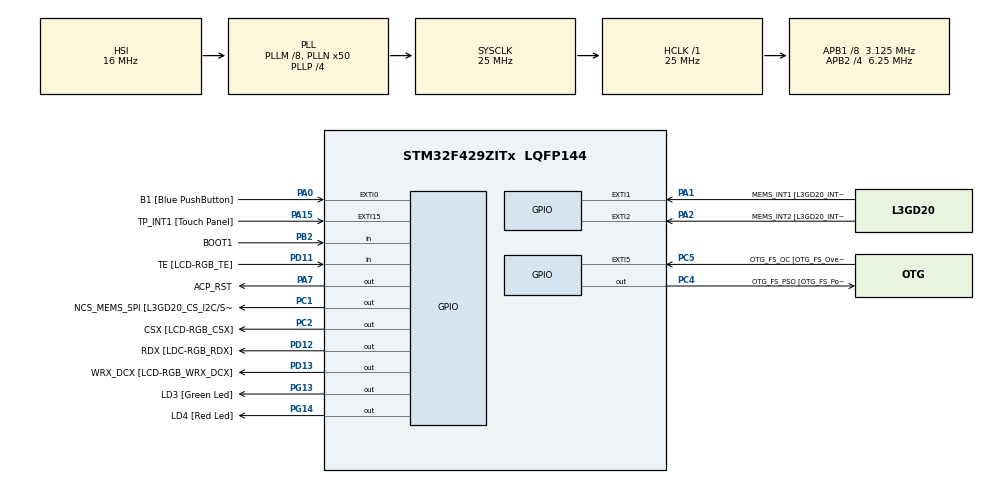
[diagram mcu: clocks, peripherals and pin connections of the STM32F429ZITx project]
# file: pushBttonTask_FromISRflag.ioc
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Mcu.Family=STM32F4
Mcu.Name=STM32F429ZITx
Mcu.Package=LQFP144
NVIC.EXTI0_IRQn=true\:6\:0\:true\:false\:true\:true\:true\:true
NVIC.PriorityGroup=NVIC_PRIORITYGROUP_4
NVIC.TIM6_DAC_IRQn=true\:15\:0\:false\:false\:true\:false\:true\:true
NVIC.TimeBase=TIM6_DAC_IRQn
NVIC.TimeBaseIP=TIM6
PA0/WKUP.GPIO_Label=B1 [Blue PushButton]
PA0/WKUP.GPIO_ModeDefaultEXTI=GPIO_MODE_IT_FALLING
PA0/WKUP.GPIO_PuPd=GPIO_NOPULL
PA0/WKUP.Signal=GPXTI0
PA1.GPIO_Label=MEMS_INT1 [L3GD20_INT1]
PA1.GPIO_ModeDefaultEXTI=GPIO_MODE_EVT_RISING
PA1.GPIO_PuPd=GPIO_NOPULL
PA1.Signal=GPXTI1
PA10.GPIO_Label=STLINK_TX [STM32F103CBT6_PA2]
PA10.Signal=USART1_RX
PA11.GPIO_Label=R4
PA11.GPIO_Mode=GPIO_MODE_AF_PP
PA11.GPIO_PuPd=GPIO_NOPULL
PA11.GPIO_Speed=GPIO_SPEED_FREQ_LOW
PA11.Signal=LTDC_R4
PA12.GPIO_Label=R5
PA12.GPIO_Mode=GPIO_MODE_AF_PP
PA12.GPIO_PuPd=GPIO_NOPULL
PA12.GPIO_Speed=GPIO_SPEED_FREQ_LOW
PA12.Signal=LTDC_R5
PA13.GPIO_Label=SWDIO
PA13.Signal=SYS_JTMS-SWDIO
PA14.GPIO_Label=SWCLK
PA14.Signal=SYS_JTCK-SWCLK
PA15.GPIO_Label=TP_INT1 [Touch Panel]
PA15.GPIO_ModeDefaultEXTI=GPIO_MODE_EVT_RISING
PA15.GPIO_PuPd=GPIO_NOPULL
PA15.Signal=GPXTI15
PA2.GPIO_Label=MEMS_INT2 [L3GD20_INT2]
PA2.GPIO_ModeDefaultEXTI=GPIO_MODE_EVT_RISING
PA2.GPIO_PuPd=GPIO_NOPULL
PA2.Signal=GPXTI2
PA3.GPIO_Label=B5
PA3.GPIO_Mode=GPIO_MODE_AF_PP
PA3.GPIO_PuPd=GPIO_NOPULL
PA3.GPIO_Speed=GPIO_SPEED_FREQ_LOW
PA3.Signal=LTDC_B5
PA4.GPIO_Label=VSYNC
PA4.GPIO_Mode=GPIO_MODE_AF_PP
PA4.GPIO_PuPd=GPIO_NOPULL
PA4.GPIO_Speed=GPIO_SPEED_FREQ_LOW
PA4.Signal=LTDC_VSYNC
PA6.GPIO_Label=G2
PA6.GPIO_Mode=GPIO_MODE_AF_PP
PA6.GPIO_PuPd=GPIO_NOPULL
PA6.GPIO_Speed=GPIO_SPEED_FREQ_LOW
PA6.Signal=LTDC_G2
PA7.GPIO_Label=ACP_RST
PA7.GPIO_Mode=GPIO_MODE_OUTPUT_PP
PA7.GPIO_PuPd=GPIO_NOPULL
PA7.GPIO_Speed=GPIO_SPEED_FREQ_LOW
PA7.Signal=GPIO_Output
PA8.GPIO_Label=I2C3_SCL [ACP/RF_SCL]
PA8.GPIO_Mode=GPIO_MODE_AF_OD
PA8.GPIO_PuPd=GPIO_NOPULL
PA8.GPIO_Speed=GPIO_SPEED_FREQ_LOW
PA8.Signal=I2C3_SCL
PA9.GPIO_Label=STLINK_RX [STM32F103CBT6_PA3]
PA9.Signal=USART1_TX
PB0.GPIO_Label=R3
PB0.GPIO_Mode=GPIO_MODE_AF_PP
PB0.GPIO_PuPd=GPIO_NOPULL
PB0.GPIO_Speed=GPIO_SPEED_FREQ_LOW
PB0.Signal=LTDC_R3
PB1.GPIO_Label=R6
PB1.GPIO_Mode=GPIO_MODE_AF_PP
PB1.GPIO_PuPd=GPIO_NOPULL
PB1.GPIO_Speed=GPIO_SPEED_FREQ_LOW
PB1.Signal=LTDC_R6
PB10.GPIO_Label=G4
PB10.GPIO_Mode=GPIO_MODE_AF_PP
PB10.GPIO_PuPd=GPIO_NOPULL
PB10.GPIO_Speed=GPIO_SPEED_FREQ_LOW
PB10.Signal=LTDC_G4
PB11.GPIO_Label=G5
PB11.GPIO_Mode=GPIO_MODE_AF_PP
PB11.GPIO_PuPd=GPIO_NOPULL
PB11.GPIO_Speed=GPIO_SPEED_FREQ_LOW
PB11.Signal=LTDC_G5
PB12.GPIO_Label=OTG_HS_ID
PB12.GPIO_Mode=GPIO_MODE_AF_PP
PB12.GPIO_PuPd=GPIO_NOPULL
PB12.GPIO_Speed=GPIO_SPEED_FREQ_LOW
PB12.Signal=USB_OTG_HS_ID
PB13.GPIO_Label=VBUS_HS
PB13.GPIO_Mode=GPIO_MODE_INPUT
PB13.GPIO_PuPd=GPIO_NOPULL
PB13.Signal=USB_OTG_HS_VBUS
PB14.GPIO_Label=OTG_HS_DM
PB14.GPIO_Mode=GPIO_MODE_AF_PP
PB14.GPIO_PuPd=GPIO_NOPULL
PB14.GPIO_Speed=GPIO_SPEED_FREQ_LOW
PB14.Signal=USB_OTG_HS_DM
PB15.GPIO_Label=OTG_HS_DP
PB15.GPIO_Mode=GPIO_MODE_AF_PP
PB15.GPIO_PuPd=GPIO_NOPULL
PB15.GPIO_Speed=GPIO_SPEED_FREQ_LOW
PB15.Signal=USB_OTG_HS_DP
PB2/BOOT1.GPIO_Label=BOOT1
PB2/BOOT1.GPIO_Mode=GPIO_MODE_INPUT
PB2/BOOT1.GPIO_PuPd=GPIO_NOPULL
PB2/BOOT1.Signal=GPIO_Input
PB5.GPIO_Label=SDCKE1
PB5.GPIO_Mode=GPIO_MODE_AF_PP
PB5.GPIO_PuPd=GPIO_NOPULL
PB5.GPIO_Speed=GPIO_SPEED_FREQ_VERY_HIGH
PB5.Signal=FMC_SDCKE1
PB6.GPIO_Label=SDNE1 [SDRAM_CS]
PB6.GPIO_Mode=GPIO_MODE_AF_PP
PB6.GPIO_PuPd=GPIO_NOPULL
PB6.GPIO_Speed=GPIO_SPEED_FREQ_VERY_HIGH
PB6.Signal=FMC_SDNE1
PB8.GPIO_Label=B6
PB8.GPIO_Mode=GPIO_MODE_AF_PP
PB8.GPIO_PuPd=GPIO_NOPULL
PB8.GPIO_Speed=GPIO_SPEED_FREQ_LOW
PB8.Signal=LTDC_B6
PB9.GPIO_Label=B7
PB9.GPIO_Mode=GPIO_MODE_AF_PP
PB9.GPIO_PuPd=GPIO_NOPULL
PB9.GPIO_Speed=GPIO_SPEED_FREQ_LOW
PB9.Signal=LTDC_B7
PC0.GPIO_Label=SDNWE
PC0.GPIO_Mode=GPIO_MODE_AF_PP
PC0.GPIO_PuPd=GPIO_NOPULL
PC0.GPIO_Speed=GPIO_SPEED_FREQ_VERY_HIGH
PC0.Signal=FMC_SDNWE
PC1.GPIO_Label=NCS_MEMS_SPI [L3GD20_CS_I2C/SPI]
PC1.GPIO_Mode=GPIO_MODE_OUTPUT_PP
PC1.GPIO_PuPd=GPIO_NOPULL
PC1.GPIO_Speed=GPIO_SPEED_FREQ_LOW
PC1.Signal=GPIO_Output
PC10.GPIO_Label=R2
PC10.GPIO_Mode=GPIO_MODE_AF_PP
PC10.GPIO_PuPd=GPIO_NOPULL
PC10.GPIO_Speed=GPIO_SPEED_FREQ_LOW
PC10.Signal=LTDC_R2
PC14/OSC32_IN.GPIO_Label=PC14-OSC32_IN
PC14/OSC32_IN.Signal=RCC_OSC32_IN
PC15/OSC32_OUT.GPIO_Label=PC15-OSC32_OUT
PC15/OSC32_OUT.Signal=RCC_OSC32_OUT
PC2.GPIO_Label=CSX [LCD-RGB_CSX]
PC2.GPIO_Mode=GPIO_MODE_OUTPUT_PP
PC2.GPIO_PuPd=GPIO_NOPULL
PC2.GPIO_Speed=GPIO_SPEED_FREQ_LOW
PC2.Signal=GPIO_Output
PC4.GPIO_Label=OTG_FS_PSO [OTG_FS_PowerSwitchOn]
PC4.GPIO_Mode=GPIO_MODE_OUTPUT_PP
PC4.GPIO_PuPd=GPIO_NOPULL
PC4.GPIO_Speed=GPIO_SPEED_FREQ_LOW
PC4.Signal=GPIO_Output
PC5.GPIO_Label=OTG_FS_OC [OTG_FS_OverCurrent]
PC5.GPIO_ModeDefaultEXTI=GPIO_MODE_EVT_RISING
PC5.Signal=GPXTI5
PC6.GPIO_Label=HSYNC
PC6.GPIO_Mode=GPIO_MODE_AF_PP
PC6.GPIO_PuPd=GPIO_NOPULL
PC6.GPIO_Speed=GPIO_SPEED_FREQ_LOW
PC6.Signal=LTDC_HSYNC
PC7.GPIO_Label=G6
PC7.GPIO_Mode=GPIO_MODE_AF_PP
PC7.GPIO_PuPd=GPIO_NOPULL
PC7.GPIO_Speed=GPIO_SPEED_FREQ_LOW
PC7.Signal=LTDC_G6
PC9.GPIO_Label=I2C3_SDA [ACP/RF_SDA]
PC9.GPIO_Mode=GPIO_MODE_AF_OD
PC9.GPIO_PuPd=GPIO_NOPULL
PC9.GPIO_Speed=GPIO_SPEED_FREQ_LOW
PC9.Signal=I2C3_SDA
PD0.GPIO_Label=D2
PD0.GPIO_Mode=GPIO_MODE_AF_PP
PD0.GPIO_PuPd=GPIO_NOPULL
PD0.GPIO_Speed=GPIO_SPEED_FREQ_VERY_HIGH
PD0.Signal=FMC_D2_DA2
PD1.GPIO_Label=D3
PD1.GPIO_Mode=GPIO_MODE_AF_PP
PD1.GPIO_PuPd=GPIO_NOPULL
PD1.GPIO_Speed=GPIO_SPEED_FREQ_VERY_HIGH
PD1.Signal=FMC_D3_DA3
PD10.GPIO_Label=D15
PD10.GPIO_Mode=GPIO_MODE_AF_PP
PD10.GPIO_PuPd=GPIO_NOPULL
PD10.GPIO_Speed=GPIO_SPEED_FREQ_VERY_HIGH
PD10.Signal=FMC_D15_DA15
PD11.GPIO_Label=TE [LCD-RGB_TE]
PD11.GPIO_Mode=GPIO_MODE_INPUT
PD11.GPIO_PuPd=GPIO_NOPULL
PD11.Signal=GPIO_Input
PD12.GPIO_Label=RDX [LDC-RGB_RDX]
PD12.GPIO_Mode=GPIO_MODE_OUTPUT_PP
PD12.GPIO_PuPd=GPIO_NOPULL
PD12.GPIO_Speed=GPIO_SPEED_FREQ_LOW
PD12.Signal=GPIO_Output
PD13.GPIO_Label=WRX_DCX [LCD-RGB_WRX_DCX]
PD13.GPIO_Mode=GPIO_MODE_OUTPUT_PP
PD13.GPIO_PuPd=GPIO_NOPULL
PD13.GPIO_Speed=GPIO_SPEED_FREQ_LOW
PD13.Signal=GPIO_Output
PD14.GPIO_Label=D0
PD14.GPIO_Mode=GPIO_MODE_AF_PP
PD14.GPIO_PuPd=GPIO_NOPULL
PD14.GPIO_Speed=GPIO_SPEED_FREQ_VERY_HIGH
PD14.Signal=FMC_D0_DA0
PD15.GPIO_Label=D1
PD15.GPIO_Mode=GPIO_MODE_AF_PP
PD15.GPIO_PuPd=GPIO_NOPULL
PD15.GPIO_Speed=GPIO_SPEED_FREQ_VERY_HIGH
PD15.Signal=FMC_D1_DA1
PD3.GPIO_Label=G7
PD3.GPIO_Mode=GPIO_MODE_AF_PP
PD3.GPIO_PuPd=GPIO_NOPULL
PD3.GPIO_Speed=GPIO_SPEED_FREQ_LOW
PD3.Signal=LTDC_G7
PD6.GPIO_Label=B2
PD6.GPIO_Mode=GPIO_MODE_AF_PP
PD6.GPIO_PuPd=GPIO_NOPULL
PD6.GPIO_Speed=GPIO_SPEED_FREQ_LOW
PD6.Signal=LTDC_B2
PD8.GPIO_Label=D13
PD8.GPIO_Mode=GPIO_MODE_AF_PP
PD8.GPIO_PuPd=GPIO_NOPULL
PD8.GPIO_Speed=GPIO_SPEED_FREQ_VERY_HIGH
PD8.Signal=FMC_D13_DA13
PD9.GPIO_Label=D14
PD9.GPIO_Mode=GPIO_MODE_AF_PP
PD9.GPIO_PuPd=GPIO_NOPULL
PD9.GPIO_Speed=GPIO_SPEED_FREQ_VERY_HIGH
PD9.Signal=FMC_D14_DA14
PE0.GPIO_Label=NBL0 [SDRAM_LDQM]
PE0.GPIO_Mode=GPIO_MODE_AF_PP
PE0.GPIO_PuPd=GPIO_NOPULL
PE0.GPIO_Speed=GPIO_SPEED_FREQ_VERY_HIGH
PE0.Signal=FMC_NBL0
PE1.GPIO_Label=NBL1 [SDRAM_UDQM]
PE1.GPIO_Mode=GPIO_MODE_AF_PP
PE1.GPIO_PuPd=GPIO_NOPULL
PE1.GPIO_Speed=GPIO_SPEED_FREQ_VERY_HIGH
PE1.Signal=FMC_NBL1
PE10.GPIO_Label=D7
PE10.GPIO_Mode=GPIO_MODE_AF_PP
PE10.GPIO_PuPd=GPIO_NOPULL
PE10.GPIO_Speed=GPIO_SPEED_FREQ_VERY_HIGH
PE10.Signal=FMC_D7_DA7
PE11.GPIO_Label=D8
PE11.GPIO_Mode=GPIO_MODE_AF_PP
PE11.GPIO_PuPd=GPIO_NOPULL
PE11.GPIO_Speed=GPIO_SPEED_FREQ_VERY_HIGH
PE11.Signal=FMC_D8_DA8
PE12.GPIO_Label=D9
PE12.GPIO_Mode=GPIO_MODE_AF_PP
PE12.GPIO_PuPd=GPIO_NOPULL
PE12.GPIO_Speed=GPIO_SPEED_FREQ_VERY_HIGH
PE12.Signal=FMC_D9_DA9
PE13.GPIO_Label=D10
PE13.GPIO_Mode=GPIO_MODE_AF_PP
PE13.GPIO_PuPd=GPIO_NOPULL
PE13.GPIO_Speed=GPIO_SPEED_FREQ_VERY_HIGH
PE13.Signal=FMC_D10_DA10
PE14.GPIO_Label=D11
PE14.GPIO_Mode=GPIO_MODE_AF_PP
PE14.GPIO_PuPd=GPIO_NOPULL
PE14.GPIO_Speed=GPIO_SPEED_FREQ_VERY_HIGH
PE14.Signal=FMC_D11_DA11
PE15.GPIO_Label=D12
PE15.GPIO_Mode=GPIO_MODE_AF_PP
PE15.GPIO_PuPd=GPIO_NOPULL
PE15.GPIO_Speed=GPIO_SPEED_FREQ_VERY_HIGH
PE15.Signal=FMC_D12_DA12
PE7.GPIO_Label=D4
PE7.GPIO_Mode=GPIO_MODE_AF_PP
PE7.GPIO_PuPd=GPIO_NOPULL
PE7.GPIO_Speed=GPIO_SPEED_FREQ_VERY_HIGH
PE7.Signal=FMC_D4_DA4
PE8.GPIO_Label=D5
PE8.GPIO_Mode=GPIO_MODE_AF_PP
PE8.GPIO_PuPd=GPIO_NOPULL
PE8.GPIO_Speed=GPIO_SPEED_FREQ_VERY_HIGH
PE8.Signal=FMC_D5_DA5
PE9.GPIO_Label=D6
PE9.GPIO_Mode=GPIO_MODE_AF_PP
PE9.GPIO_PuPd=GPIO_NOPULL
PE9.GPIO_Speed=GPIO_SPEED_FREQ_VERY_HIGH
PE9.Signal=FMC_D6_DA6
PF0.GPIO_Label=A0
PF0.GPIO_Mode=GPIO_MODE_AF_PP
PF0.GPIO_PuPd=GPIO_NOPULL
PF0.GPIO_Speed=GPIO_SPEED_FREQ_VERY_HIGH
PF0.Signal=FMC_A0
PF1.GPIO_Label=A1
PF1.GPIO_Mode=GPIO_MODE_AF_PP
PF1.GPIO_PuPd=GPIO_NOPULL
PF1.GPIO_Speed=GPIO_SPEED_FREQ_VERY_HIGH
PF1.Signal=FMC_A1
PF10.GPIO_Label=ENABLE [LCD-RGB_ENABLE]
PF10.GPIO_Mode=GPIO_MODE_AF_PP
PF10.GPIO_PuPd=GPIO_NOPULL
PF10.GPIO_Speed=GPIO_SPEED_FREQ_LOW
PF10.Signal=LTDC_DE
PF11.GPIO_Label=SDNRAS
PF11.GPIO_Mode=GPIO_MODE_AF_PP
PF11.GPIO_PuPd=GPIO_NOPULL
PF11.GPIO_Speed=GPIO_SPEED_FREQ_VERY_HIGH
PF11.Signal=FMC_SDNRAS
PF12.GPIO_Label=A6
PF12.GPIO_Mode=GPIO_MODE_AF_PP
PF12.GPIO_PuPd=GPIO_NOPULL
PF12.GPIO_Speed=GPIO_SPEED_FREQ_VERY_HIGH
PF12.Signal=FMC_A6
PF13.GPIO_Label=A7
PF13.GPIO_Mode=GPIO_MODE_AF_PP
PF13.GPIO_PuPd=GPIO_NOPULL
PF13.GPIO_Speed=GPIO_SPEED_FREQ_VERY_HIGH
PF13.Signal=FMC_A7
PF14.GPIO_Label=A8
PF14.GPIO_Mode=GPIO_MODE_AF_PP
PF14.GPIO_PuPd=GPIO_NOPULL
PF14.GPIO_Speed=GPIO_SPEED_FREQ_VERY_HIGH
PF14.Signal=FMC_A8
PF15.GPIO_Label=A9
PF15.GPIO_Mode=GPIO_MODE_AF_PP
PF15.GPIO_PuPd=GPIO_NOPULL
PF15.GPIO_Speed=GPIO_SPEED_FREQ_VERY_HIGH
PF15.Signal=FMC_A9
PF2.GPIO_Label=A2
PF2.GPIO_Mode=GPIO_MODE_AF_PP
PF2.GPIO_PuPd=GPIO_NOPULL
PF2.GPIO_Speed=GPIO_SPEED_FREQ_VERY_HIGH
PF2.Signal=FMC_A2
PF3.GPIO_Label=A3
PF3.GPIO_Mode=GPIO_MODE_AF_PP
PF3.GPIO_PuPd=GPIO_NOPULL
PF3.GPIO_Speed=GPIO_SPEED_FREQ_VERY_HIGH
PF3.Signal=FMC_A3
PF4.GPIO_Label=A4
PF4.GPIO_Mode=GPIO_MODE_AF_PP
PF4.GPIO_PuPd=GPIO_NOPULL
PF4.GPIO_Speed=GPIO_SPEED_FREQ_VERY_HIGH
PF4.Signal=FMC_A4
PF5.GPIO_Label=A5
PF5.GPIO_Mode=GPIO_MODE_AF_PP
PF5.GPIO_PuPd=GPIO_NOPULL
PF5.GPIO_Speed=GPIO_SPEED_FREQ_VERY_HIGH
PF5.Signal=FMC_A5
PF7.GPIO_Label=SPI5_SCK [L3GD20_SCL/SPC]
PF7.GPIO_Mode=GPIO_MODE_AF_PP
PF7.GPIO_PuPd=GPIO_NOPULL
PF7.GPIO_Speed=GPIO_SPEED_FREQ_LOW
PF7.Signal=SPI5_SCK
PF8.GPIO_Label=SPI5_MISO [L3GD20_SDO]
PF8.GPIO_Mode=GPIO_MODE_AF_PP
PF8.GPIO_PuPd=GPIO_NOPULL
PF8.GPIO_Speed=GPIO_SPEED_FREQ_LOW
PF8.Signal=SPI5_MISO
PF9.GPIO_Label=SPI5_MOSI [L3GD20_SDA/SDI/SDO]
PF9.GPIO_Mode=GPIO_MODE_AF_PP
PF9.GPIO_PuPd=GPIO_NOPULL
PF9.GPIO_Speed=GPIO_SPEED_FREQ_LOW
PF9.Signal=SPI5_MOSI
PG0.GPIO_Label=A10
PG0.GPIO_Mode=GPIO_MODE_AF_PP
PG0.GPIO_PuPd=GPIO_NOPULL
PG0.GPIO_Speed=GPIO_SPEED_FREQ_VERY_HIGH
PG0.Signal=FMC_A10
PG1.GPIO_Label=A11
PG1.GPIO_Mode=GPIO_MODE_AF_PP
PG1.GPIO_PuPd=GPIO_NOPULL
PG1.GPIO_Speed=GPIO_SPEED_FREQ_VERY_HIGH
PG1.Signal=FMC_A11
PG10.GPIO_Label=G3
PG10.GPIO_Mode=GPIO_MODE_AF_PP
PG10.GPIO_PuPd=GPIO_NOPULL
PG10.GPIO_Speed=GPIO_SPEED_FREQ_LOW
PG10.Signal=LTDC_G3
PG11.GPIO_Label=B3
PG11.GPIO_Mode=GPIO_MODE_AF_PP
PG11.GPIO_PuPd=GPIO_NOPULL
PG11.GPIO_Speed=GPIO_SPEED_FREQ_LOW
PG11.Signal=LTDC_B3
PG12.GPIO_Label=B4
PG12.GPIO_Mode=GPIO_MODE_AF_PP
PG12.GPIO_PuPd=GPIO_NOPULL
PG12.GPIO_Speed=GPIO_SPEED_FREQ_LOW
PG12.Signal=LTDC_B4
PG13.GPIO_Label=LD3 [Green Led]
PG13.GPIO_Mode=GPIO_MODE_OUTPUT_PP
PG13.GPIO_PuPd=GPIO_NOPULL
PG13.GPIO_Speed=GPIO_SPEED_FREQ_LOW
PG13.Signal=GPIO_Output
PG14.GPIO_Label=LD4 [Red Led]
PG14.GPIO_Mode=GPIO_MODE_OUTPUT_PP
PG14.GPIO_PuPd=GPIO_NOPULL
PG14.GPIO_Speed=GPIO_SPEED_FREQ_LOW
PG14.Signal=GPIO_Output
PG15.GPIO_Label=SDNCAS
PG15.GPIO_Mode=GPIO_MODE_AF_PP
PG15.GPIO_PuPd=GPIO_NOPULL
PG15.GPIO_Speed=GPIO_SPEED_FREQ_VERY_HIGH
PG15.Signal=FMC_SDNCAS
PG4.GPIO_Label=BA0
PG4.GPIO_Mode=GPIO_MODE_AF_PP
PG4.GPIO_PuPd=GPIO_NOPULL
PG4.GPIO_Speed=GPIO_SPEED_FREQ_VERY_HIGH
PG4.Signal=FMC_A14_BA0
PG5.GPIO_Label=BA1
PG5.GPIO_Mode=GPIO_MODE_AF_PP
PG5.GPIO_PuPd=GPIO_NOPULL
PG5.GPIO_Speed=GPIO_SPEED_FREQ_VERY_HIGH
PG5.Signal=FMC_A15_BA1
PG6.GPIO_Label=R7
PG6.GPIO_Mode=GPIO_MODE_AF_PP
PG6.GPIO_PuPd=GPIO_NOPULL
PG6.GPIO_Speed=GPIO_SPEED_FREQ_LOW
PG6.Signal=LTDC_R7
PG7.GPIO_Label=DOTCLK [LCT-RGB_DOTCLK]
PG7.GPIO_Mode=GPIO_MODE_AF_PP
PG7.GPIO_PuPd=GPIO_NOPULL
PG7.GPIO_Speed=GPIO_SPEED_FREQ_LOW
PG7.Signal=LTDC_CLK
PG8.GPIO_Label=SDCLK
PG8.GPIO_Mode=GPIO_MODE_AF_PP
PG8.GPIO_PuPd=GPIO_NOPULL
PG8.GPIO_Speed=GPIO_SPEED_FREQ_VERY_HIGH
PG8.Signal=FMC_SDCLK
PH0/OSC_IN.GPIO_Label=PH0-OSC_IN
PH0/OSC_IN.Signal=RCC_OSC_IN
PH1/OSC_OUT.GPIO_Label=PH1-OSC_OUT
PH1/OSC_OUT.Signal=RCC_OSC_OUT
ProjectManager.HeapSize=0x200
ProjectManager.StackSize=0x400
ProjectManager.TargetToolchain=STM32CubeIDE
RCC.48MHZClocksFreq_Value=14285714.285714285
RCC.AHBFreq_Value=25000000
RCC.APB1CLKDivider=RCC_HCLK_DIV8
RCC.APB1Freq_Value=3125000
RCC.APB1TimFreq_Value=6250000
RCC.APB2CLKDivider=RCC_HCLK_DIV4
RCC.APB2Freq_Value=6250000
RCC.APB2TimFreq_Value=12500000
RCC.CortexFreq_Value=25000000
RCC.HCLKFreq_Value=25000000
RCC.HSE_VALUE=8000000
RCC.HSI_VALUE=16000000
RCC.LSE_VALUE=32768
RCC.PLLM=8
RCC.PLLN=50
RCC.PLLP=RCC_PLLP_DIV4
RCC.PLLQ=7
RCC.SYSCLKFreq_VALUE=25000000
RCC.SYSCLKSource=RCC_SYSCLKSOURCE_PLLCLK
RCC.VCOOutputFreq_Value=100000000
SH.FMC_A0.0=FMC_A0
SH.FMC_A1.0=FMC_A1
SH.FMC_A10.0=FMC_A10
SH.FMC_A11.0=FMC_A11
SH.FMC_A14_BA0.0=FMC_BA0
SH.FMC_A15_BA1.0=FMC_BA1
SH.FMC_A2.0=FMC_A2
SH.FMC_A3.0=FMC_A3
SH.FMC_A4.0=FMC_A4
SH.FMC_A5.0=FMC_A5
SH.FMC_A6.0=FMC_A6
SH.FMC_A7.0=FMC_A7
SH.FMC_A8.0=FMC_A8
SH.FMC_A9.0=FMC_A9
SH.FMC_D0_DA0.0=FMC_D0
SH.FMC_D10_DA10.0=FMC_D10
SH.FMC_D11_DA11.0=FMC_D11
SH.FMC_D12_DA12.0=FMC_D12
SH.FMC_D13_DA13.0=FMC_D13
SH.FMC_D14_DA14.0=FMC_D14
SH.FMC_D15_DA15.0=FMC_D15
SH.FMC_D1_DA1.0=FMC_D1
SH.FMC_D2_DA2.0=FMC_D2
SH.FMC_D3_DA3.0=FMC_D3
SH.FMC_D4_DA4.0=FMC_D4
SH.FMC_D5_DA5.0=FMC_D5
SH.FMC_D6_DA6.0=FMC_D6
SH.FMC_D7_DA7.0=FMC_D7
SH.FMC_D8_DA8.0=FMC_D8
SH.FMC_D9_DA9.0=FMC_D9
SH.FMC_NBL0.0=FMC_NBL0
SH.FMC_NBL1.0=FMC_NBL1
SH.FMC_SDCLK.0=FMC_SDCLK
SH.FMC_SDNCAS.0=FMC_SDNCAS
SH.FMC_SDNRAS.0=FMC_SDNRAS
SH.FMC_SDNWE.0=FMC_SDNWE
VP_SYS_VS_tim6.Mode=TIM6
board=STM32F429I-DISC1

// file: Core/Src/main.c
/* USER CODE BEGIN Header */
/**
  ******************************************************************************
  * @file           : main.c
  * @brief          : Main program body
  ******************************************************************************
  * @attention
  *
  * Copyright (c) 2022 STMicroelectronics.
  * All rights reserved.
  *
  * This software is licensed under terms that can be found in the LICENSE file
  * in the root directory of this software component.
  * If no LICENSE file comes with this software, it is provided AS-IS.
  *
  ******************************************************************************
  */
/* USER CODE END Header */
#include "main.h"

/* USER CODE BEGIN Includes */

#include "FreeRTOS.h"
#include "task.h"
#include <SEGGER_SYSVIEW.h>

/* USER CODE END Includes */

/* USER CODE BEGIN PV */

#define DWT_CTRL (*(volatile uint32_t*)0xE0001000)

volatile BaseType_t status_button = 0;

/* USER CODE END PV */

void SystemClock_Config(void);
static void MX_GPIO_Init(void);
/* USER CODE BEGIN PFP */

static void ledGreenHandler(void* parameters);
static void ledRedHandler(void* parameters);

//static void button_handler(void* parameters);

/* USER CODE END PFP */

/* USER CODE BEGIN 0 */
 TaskHandle_t led_Green_handle;
 TaskHandle_t led_Red_Handle;
 //TaskHandle_t button_Handle;

/* USER CODE END 0 */

int main(void)
{
  /* USER CODE BEGIN 1 */

    BaseType_t status;

  /* USER CODE END 1 */

  /* MCU Configuration--------------------------------------------------------*/

  /* Reset of all peripherals, Initializes the Flash interface and the Systick. */
  HAL_Init();

  /* Configure the system clock */
  SystemClock_Config();

  /* Initialize all configured peripherals */
  MX_GPIO_Init();
  /* USER CODE BEGIN 2 */

  DWT_CTRL |= (1 << 0);

  SEGGER_SYSVIEW_Conf();
  //SEGGER_SYSVIEW_Start();

  status = xTaskCreate(ledGreenHandler,"Led-G", 500, NULL, 2, &led_Green_handle);
  configASSERT(status == pdPASS);

  status = xTaskCreate(ledRedHandler, "Led-R", 500, NULL, 3, &led_Red_Handle);
  configASSERT(status == pdPASS);

  //status = xTaskCreate(button_handler,"Button_Task", 200, NULL, 3, &button_Handle);
  //configASSERT(status == pdPASS);

  vTaskStartScheduler();

  //status = xTaskCreate(ledOrangeHandler, "Led_Orange_Handler", 200, NULL, 2, &task2_Handle);
 // configASSERT(status == pdPASS);

  /* WE START THE SCHEDULER HERE*/

  /* USER CODE END 2 */

  /* Infinite loop */
  while (1)
  {

  }
}

void SystemClock_Config(void)
{
  RCC_OscInitTypeDef RCC_OscInitStruct = {0};
  RCC_ClkInitTypeDef RCC_ClkInitStruct = {0};

  /** Configure the main internal regulator output voltage
  */
  __HAL_RCC_PWR_CLK_ENABLE();
  __HAL_PWR_VOLTAGESCALING_CONFIG(PWR_REGULATOR_VOLTAGE_SCALE3);

  /** Initializes the RCC Oscillators according to the specified parameters
  * in the RCC_OscInitTypeDef structure.
  */
  RCC_OscInitStruct.OscillatorType = RCC_OSCILLATORTYPE_HSI;
  RCC_OscInitStruct.HSIState = RCC_HSI_ON;
  RCC_OscInitStruct.HSICalibrationValue = RCC_HSICALIBRATION_DEFAULT;
  RCC_OscInitStruct.PLL.PLLState = RCC_PLL_ON;
  RCC_OscInitStruct.PLL.PLLSource = RCC_PLLSOURCE_HSI;
  RCC_OscInitStruct.PLL.PLLM = 8;
  RCC_OscInitStruct.PLL.PLLN = 50;
  RCC_OscInitStruct.PLL.PLLP = RCC_PLLP_DIV4;
  RCC_OscInitStruct.PLL.PLLQ = 7;
  if (HAL_RCC_OscConfig(&RCC_OscInitStruct) != HAL_OK)
  {
    Error_Handler();
  }

  /** Initializes the CPU, AHB and APB buses clocks
  */
  RCC_ClkInitStruct.ClockType = RCC_CLOCKTYPE_HCLK|RCC_CLOCKTYPE_SYSCLK
                              |RCC_CLOCKTYPE_PCLK1|RCC_CLOCKTYPE_PCLK2;
  RCC_ClkInitStruct.SYSCLKSource = RCC_SYSCLKSOURCE_PLLCLK;
  RCC_ClkInitStruct.AHBCLKDivider = RCC_SYSCLK_DIV1;
  RCC_ClkInitStruct.APB1CLKDivider = RCC_HCLK_DIV8;
  RCC_ClkInitStruct.APB2CLKDivider = RCC_HCLK_DIV4;

  if (HAL_RCC_ClockConfig(&RCC_ClkInitStruct, FLASH_LATENCY_0) != HAL_OK)
  {
    Error_Handler();
  }
}

static void MX_GPIO_Init(void)
{
  GPIO_InitTypeDef GPIO_InitStruct = {0};

  /* GPIO Ports Clock Enable */
  __HAL_RCC_GPIOC_CLK_ENABLE();
  __HAL_RCC_GPIOF_CLK_ENABLE();
  __HAL_RCC_GPIOH_CLK_ENABLE();
  __HAL_RCC_GPIOA_CLK_ENABLE();
  __HAL_RCC_GPIOB_CLK_ENABLE();
  __HAL_RCC_GPIOG_CLK_ENABLE();
  __HAL_RCC_GPIOE_CLK_ENABLE();
  __HAL_RCC_GPIOD_CLK_ENABLE();

  /*Configure GPIO pin Output Level */
  HAL_GPIO_WritePin(GPIOC, NCS_MEMS_SPI_Pin|CSX_Pin|OTG_FS_PSO_Pin, GPIO_PIN_RESET);

  /*Configure GPIO pin Output Level */
  HAL_GPIO_WritePin(ACP_RST_GPIO_Port, ACP_RST_Pin, GPIO_PIN_RESET);

  /*Configure GPIO pin Output Level */
  HAL_GPIO_WritePin(GPIOD, RDX_Pin|WRX_DCX_Pin, GPIO_PIN_RESET);

  /*Configure GPIO pin Output Level */
  HAL_GPIO_WritePin(GPIOG, LD3_Pin|LD4_Pin, GPIO_PIN_RESET);

  /*Configure GPIO pins : A0_Pin A1_Pin A2_Pin A3_Pin
                           A4_Pin A5_Pin SDNRAS_Pin A6_Pin
                           A7_Pin A8_Pin A9_Pin */
  GPIO_InitStruct.Pin = A0_Pin|A1_Pin|A2_Pin|A3_Pin
                          |A4_Pin|A5_Pin|SDNRAS_Pin|A6_Pin
                          |A7_Pin|A8_Pin|A9_Pin;
  GPIO_InitStruct.Mode = GPIO_MODE_AF_PP;
  GPIO_InitStruct.Pull = GPIO_NOPULL;
  GPIO_InitStruct.Speed = GPIO_SPEED_FREQ_VERY_HIGH;
  GPIO_InitStruct.Alternate = GPIO_AF12_FMC;
  HAL_GPIO_Init(GPIOF, &GPIO_InitStruct);

  /*Configure GPIO pins : SPI5_SCK_Pin SPI5_MISO_Pin SPI5_MOSI_Pin */
  GPIO_InitStruct.Pin = SPI5_SCK_Pin|SPI5_MISO_Pin|SPI5_MOSI_Pin;
  GPIO_InitStruct.Mode = GPIO_MODE_AF_PP;
  GPIO_InitStruct.Pull = GPIO_NOPULL;
  GPIO_InitStruct.Speed = GPIO_SPEED_FREQ_LOW;
  GPIO_InitStruct.Alternate = GPIO_AF5_SPI5;
  HAL_GPIO_Init(GPIOF, &GPIO_InitStruct);

  /*Configure GPIO pin : ENABLE_Pin */
  GPIO_InitStruct.Pin = ENABLE_Pin;
  GPIO_InitStruct.Mode = GPIO_MODE_AF_PP;
  GPIO_InitStruct.Pull = GPIO_NOPULL;
  GPIO_InitStruct.Speed = GPIO_SPEED_FREQ_LOW;
  GPIO_InitStruct.Alternate = GPIO_AF14_LTDC;
  HAL_GPIO_Init(ENABLE_GPIO_Port, &GPIO_InitStruct);

  /*Configure GPIO pin : SDNWE_Pin */
  GPIO_InitStruct.Pin = SDNWE_Pin;
  GPIO_InitStruct.Mode = GPIO_MODE_AF_PP;
  GPIO_InitStruct.Pull = GPIO_NOPULL;
  GPIO_InitStruct.Speed = GPIO_SPEED_FREQ_VERY_HIGH;
  GPIO_InitStruct.Alternate = GPIO_AF12_FMC;
  HAL_GPIO_Init(SDNWE_GPIO_Port, &GPIO_InitStruct);

  /*Configure GPIO pins : NCS_MEMS_SPI_Pin CSX_Pin OTG_FS_PSO_Pin */
  GPIO_InitStruct.Pin = NCS_MEMS_SPI_Pin|CSX_Pin|OTG_FS_PSO_Pin;
  GPIO_InitStruct.Mode = GPIO_MODE_OUTPUT_PP;
  GPIO_InitStruct.Pull = GPIO_NOPULL;
  GPIO_InitStruct.Speed = GPIO_SPEED_FREQ_LOW;
  HAL_GPIO_Init(GPIOC, &GPIO_InitStruct);

  /*Configure GPIO pin : B1_Pin */
  GPIO_InitStruct.Pin = B1_Pin;
  GPIO_InitStruct.Mode = GPIO_MODE_IT_FALLING;
  GPIO_InitStruct.Pull = GPIO_NOPULL;
  HAL_GPIO_Init(B1_GPIO_Port, &GPIO_InitStruct);

  /*Configure GPIO pins : MEMS_INT1_Pin MEMS_INT2_Pin TP_INT1_Pin */
  GPIO_InitStruct.Pin = MEMS_INT1_Pin|MEMS_INT2_Pin|TP_INT1_Pin;
  GPIO_InitStruct.Mode = GPIO_MODE_EVT_RISING;
  GPIO_InitStruct.Pull = GPIO_NOPULL;
  HAL_GPIO_Init(GPIOA, &GPIO_InitStruct);

  /*Configure GPIO pins : B5_Pin VSYNC_Pin G2_Pin R4_Pin
                           R5_Pin */
  GPIO_InitStruct.Pin = B5_Pin|VSYNC_Pin|G2_Pin|R4_Pin
                          |R5_Pin;
  GPIO_InitStruct.Mode = GPIO_MODE_AF_PP;
  GPIO_InitStruct.Pull = GPIO_NOPULL;
  GPIO_InitStruct.Speed = GPIO_SPEED_FREQ_LOW;
  GPIO_InitStruct.Alternate = GPIO_AF14_LTDC;
  HAL_GPIO_Init(GPIOA, &GPIO_InitStruct);

  /*Configure GPIO pin : ACP_RST_Pin */
  GPIO_InitStruct.Pin = ACP_RST_Pin;
  GPIO_InitStruct.Mode = GPIO_MODE_OUTPUT_PP;
  GPIO_InitStruct.Pull = GPIO_NOPULL;
  GPIO_InitStruct.Speed = GPIO_SPEED_FREQ_LOW;
  HAL_GPIO_Init(ACP_RST_GPIO_Port, &GPIO_InitStruct);

  /*Configure GPIO pin : OTG_FS_OC_Pin */
  GPIO_InitStruct.Pin = OTG_FS_OC_Pin;
  GPIO_InitStruct.Mode = GPIO_MODE_EVT_RISING;
  GPIO_InitStruct.Pull = GPIO_NOPULL;
  HAL_GPIO_Init(OTG_FS_OC_GPIO_Port, &GPIO_InitStruct);

  /*Configure GPIO pins : R3_Pin R6_Pin */
  GPIO_InitStruct.Pin = R3_Pin|R6_Pin;
  GPIO_InitStruct.Mode = GPIO_MODE_AF_PP;
  GPIO_InitStruct.Pull = GPIO_NOPULL;
  GPIO_InitStruct.Speed = GPIO_SPEED_FREQ_LOW;
  GPIO_InitStruct.Alternate = GPIO_AF9_LTDC;
  HAL_GPIO_Init(GPIOB, &GPIO_InitStruct);

  /*Configure GPIO pin : BOOT1_Pin */
  GPIO_InitStruct.Pin = BOOT1_Pin;
  GPIO_InitStruct.Mode = GPIO_MODE_INPUT;
  GPIO_InitStruct.Pull = GPIO_NOPULL;
  HAL_GPIO_Init(BOOT1_GPIO_Port, &GPIO_InitStruct);

  /*Configure GPIO pins : A10_Pin A11_Pin BA0_Pin BA1_Pin
                           SDCLK_Pin SDNCAS_Pin */
  GPIO_InitStruct.Pin = A10_Pin|A11_Pin|BA0_Pin|BA1_Pin
                          |SDCLK_Pin|SDNCAS_Pin;
  GPIO_InitStruct.Mode = GPIO_MODE_AF_PP;
  GPIO_InitStruct.Pull = GPIO_NOPULL;
  GPIO_InitStruct.Speed = GPIO_SPEED_FREQ_VERY_HIGH;
  GPIO_InitStruct.Alternate = GPIO_AF12_FMC;
  HAL_GPIO_Init(GPIOG, &GPIO_InitStruct);

  /*Configure GPIO pins : D4_Pin D5_Pin D6_Pin D7_Pin
                           D8_Pin D9_Pin D10_Pin D11_Pin
                           D12_Pin NBL0_Pin NBL1_Pin */
  GPIO_InitStruct.Pin = D4_Pin|D5_Pin|D6_Pin|D7_Pin
                          |D8_Pin|D9_Pin|D10_Pin|D11_Pin
                          |D12_Pin|NBL0_Pin|NBL1_Pin;
  GPIO_InitStruct.Mode = GPIO_MODE_AF_PP;
  GPIO_InitStruct.Pull = GPIO_NOPULL;
  GPIO_InitStruct.Speed = GPIO_SPEED_FREQ_VERY_HIGH;
  GPIO_InitStruct.Alternate = GPIO_AF12_FMC;
  HAL_GPIO_Init(GPIOE, &GPIO_InitStruct);

  /*Configure GPIO pins : G4_Pin G5_Pin B6_Pin B7_Pin */
  GPIO_InitStruct.Pin = G4_Pin|G5_Pin|B6_Pin|B7_Pin;
  GPIO_InitStruct.Mode = GPIO_MODE_AF_PP;
  GPIO_InitStruct.Pull = GPIO_NOPULL;
  GPIO_InitStruct.Speed = GPIO_SPEED_FREQ_LOW;
  GPIO_InitStruct.Alternate = GPIO_AF14_LTDC;
  HAL_GPIO_Init(GPIOB, &GPIO_InitStruct);

  /*Configure GPIO pins : OTG_HS_ID_Pin OTG_HS_DM_Pin OTG_HS_DP_Pin */
  GPIO_InitStruct.Pin = OTG_HS_ID_Pin|OTG_HS_DM_Pin|OTG_HS_DP_Pin;
  GPIO_InitStruct.Mode = GPIO_MODE_AF_PP;
  GPIO_InitStruct.Pull = GPIO_NOPULL;
  GPIO_InitStruct.Speed = GPIO_SPEED_FREQ_LOW;
  GPIO_InitStruct.Alternate = GPIO_AF12_OTG_HS_FS;
  HAL_GPIO_Init(GPIOB, &GPIO_InitStruct);

  /*Configure GPIO pin : VBUS_HS_Pin */
  GPIO_InitStruct.Pin = VBUS_HS_Pin;
  GPIO_InitStruct.Mode = GPIO_MODE_INPUT;
  GPIO_InitStruct.Pull = GPIO_NOPULL;
  HAL_GPIO_Init(VBUS_HS_GPIO_Port, &GPIO_InitStruct);

  /*Configure GPIO pins : D13_Pin D14_Pin D15_Pin D0_Pin
                           D1_Pin D2_Pin D3_Pin */
  GPIO_InitStruct.Pin = D13_Pin|D14_Pin|D15_Pin|D0_Pin
                          |D1_Pin|D2_Pin|D3_Pin;
  GPIO_InitStruct.Mode = GPIO_MODE_AF_PP;
  GPIO_InitStruct.Pull = GPIO_NOPULL;
  GPIO_InitStruct.Speed = GPIO_SPEED_FREQ_VERY_HIGH;
  GPIO_InitStruct.Alternate = GPIO_AF12_FMC;
  HAL_GPIO_Init(GPIOD, &GPIO_InitStruct);

  /*Configure GPIO pin : TE_Pin */
  GPIO_InitStruct.Pin = TE_Pin;
  GPIO_InitStruct.Mode = GPIO_MODE_INPUT;
  GPIO_InitStruct.Pull = GPIO_NOPULL;
  HAL_GPIO_Init(TE_GPIO_Port, &GPIO_InitStruct);

  /*Configure GPIO pins : RDX_Pin WRX_DCX_Pin */
  GPIO_InitStruct.Pin = RDX_Pin|WRX_DCX_Pin;
  GPIO_InitStruct.Mode = GPIO_MODE_OUTPUT_PP;
  GPIO_InitStruct.Pull = GPIO_NOPULL;
  GPIO_InitStruct.Speed = GPIO_SPEED_FREQ_LOW;
  HAL_GPIO_Init(GPIOD, &GPIO_InitStruct);

  /*Configure GPIO pins : R7_Pin DOTCLK_Pin B3_Pin */
  GPIO_InitStruct.Pin = R7_Pin|DOTCLK_Pin|B3_Pin;
  GPIO_InitStruct.Mode = GPIO_MODE_AF_PP;
  GPIO_InitStruct.Pull = GPIO_NOPULL;
  GPIO_InitStruct.Speed = GPIO_SPEED_FREQ_LOW;
  GPIO_InitStruct.Alternate = GPIO_AF14_LTDC;
  HAL_GPIO_Init(GPIOG, &GPIO_InitStruct);

  /*Configure GPIO pins : HSYNC_Pin G6_Pin R2_Pin */
  GPIO_InitStruct.Pin = HSYNC_Pin|G6_Pin|R2_Pin;
  GPIO_InitStruct.Mode = GPIO_MODE_AF_PP;
  GPIO_InitStruct.Pull = GPIO_NOPULL;
  GPIO_InitStruct.Speed = GPIO_SPEED_FREQ_LOW;
  GPIO_InitStruct.Alternate = GPIO_AF14_LTDC;
  HAL_GPIO_Init(GPIOC, &GPIO_InitStruct);

  /*Configure GPIO pin : I2C3_SDA_Pin */
  GPIO_InitStruct.Pin = I2C3_SDA_Pin;
  GPIO_InitStruct.Mode = GPIO_MODE_AF_OD;
  GPIO_InitStruct.Pull = GPIO_NOPULL;
  GPIO_InitStruct.Speed = GPIO_SPEED_FREQ_LOW;
  GPIO_InitStruct.Alternate = GPIO_AF4_I2C3;
  HAL_GPIO_Init(I2C3_SDA_GPIO_Port, &GPIO_InitStruct);

  /*Configure GPIO pin : I2C3_SCL_Pin */
  GPIO_InitStruct.Pin = I2C3_SCL_Pin;
  GPIO_InitStruct.Mode = GPIO_MODE_AF_OD;
  GPIO_InitStruct.Pull = GPIO_NOPULL;
  GPIO_InitStruct.Speed = GPIO_SPEED_FREQ_LOW;
  GPIO_InitStruct.Alternate = GPIO_AF4_I2C3;
  HAL_GPIO_Init(I2C3_SCL_GPIO_Port, &GPIO_InitStruct);

  /*Configure GPIO pins : STLINK_RX_Pin STLINK_TX_Pin */
  GPIO_InitStruct.Pin = STLINK_RX_Pin|STLINK_TX_Pin;
  GPIO_InitStruct.Mode = GPIO_MODE_AF_PP;
  GPIO_InitStruct.Pull = GPIO_NOPULL;
  GPIO_InitStruct.Speed = GPIO_SPEED_FREQ_VERY_HIGH;
  GPIO_InitStruct.Alternate = GPIO_AF7_USART1;
  HAL_GPIO_Init(GPIOA, &GPIO_InitStruct);

  /*Configure GPIO pins : G7_Pin B2_Pin */
  GPIO_InitStruct.Pin = G7_Pin|B2_Pin;
  GPIO_InitStruct.Mode = GPIO_MODE_AF_PP;
  GPIO_InitStruct.Pull = GPIO_NOPULL;
  GPIO_InitStruct.Speed = GPIO_SPEED_FREQ_LOW;
  GPIO_InitStruct.Alternate = GPIO_AF14_LTDC;
  HAL_GPIO_Init(GPIOD, &GPIO_InitStruct);

  /*Configure GPIO pins : G3_Pin B4_Pin */
  GPIO_InitStruct.Pin = G3_Pin|B4_Pin;
  GPIO_InitStruct.Mode = GPIO_MODE_AF_PP;
  GPIO_InitStruct.Pull = GPIO_NOPULL;
  GPIO_InitStruct.Speed = GPIO_SPEED_FREQ_LOW;
  GPIO_InitStruct.Alternate = GPIO_AF9_LTDC;
  HAL_GPIO_Init(GPIOG, &GPIO_InitStruct);

  /*Configure GPIO pins : LD3_Pin LD4_Pin */
  GPIO_InitStruct.Pin = LD3_Pin|LD4_Pin;
  GPIO_InitStruct.Mode = GPIO_MODE_OUTPUT_PP;
  GPIO_InitStruct.Pull = GPIO_NOPULL;
  GPIO_InitStruct.Speed = GPIO_SPEED_FREQ_LOW;
  HAL_GPIO_Init(GPIOG, &GPIO_InitStruct);

  /*Configure GPIO pins : SDCKE1_Pin SDNE1_Pin */
  GPIO_InitStruct.Pin = SDCKE1_Pin|SDNE1_Pin;
  GPIO_InitStruct.Mode = GPIO_MODE_AF_PP;
  GPIO_InitStruct.Pull = GPIO_NOPULL;
  GPIO_InitStruct.Speed = GPIO_SPEED_FREQ_VERY_HIGH;
  GPIO_InitStruct.Alternate = GPIO_AF12_FMC;
  HAL_GPIO_Init(GPIOB, &GPIO_InitStruct);

  /* EXTI interrupt init*/
  HAL_NVIC_SetPriority(EXTI0_IRQn, 6, 0);
  HAL_NVIC_EnableIRQ(EXTI0_IRQn);

}

/* USER CODE BEGIN 4 */

void switch_priority(void)
{
	UBaseType_t p1,p2;

	xTaskHandle t1,t2,curr;

	BaseType_t switch_priority = 0;

	portENTER_CRITICAL();
	if(status_button){
		status_button = 0;
		switch_priority = 1;
	}
	portEXIT_CRITICAL();

	if(switch_priority){
		t1 = xTaskGetHandle("Led-G");
		t2 = xTaskGetHandle("Led-R");

		p1 = uxTaskPriorityGet(t1);
		p2 = uxTaskPriorityGet(t2);

		curr = xTaskGetCurrentTaskHandle();

		if(curr == t1){
			vTaskPrioritySet(t1,p2);
			vTaskPrioritySet(t2,p1);
		}else{
			vTaskPrioritySet(t2,p1);
			vTaskPrioritySet(t1,p2);
		}
	}

}

static void ledGreenHandler(void* parameters)
{

	while(1)
	{

		SEGGER_SYSVIEW_PrintfTarget("Toggling for Green Led");
		HAL_GPIO_TogglePin(GPIOG, ledGreen);
		HAL_Delay(100);
		switch_priority();
	}

}

static void ledRedHandler(void* parameters)
{

	while(1)
		{

		SEGGER_SYSVIEW_PrintfTarget("Toggling Red Led");
		HAL_GPIO_TogglePin(GPIOG, ledRed);
		HAL_Delay(1000);
		switch_priority();
		}

}

void button_interrupt_handler(void)
{
	traceISR_ENTER();
	status_button = 1;
	traceISR_EXIT();
}

/* USER CODE END 4 */

void HAL_TIM_PeriodElapsedCallback(TIM_HandleTypeDef *htim)
{
  if (htim->Instance == TIM6) {
    HAL_IncTick();
  }
}

void Error_Handler(void)
{
  __disable_irq();
  while (1)
  {
  }
}
